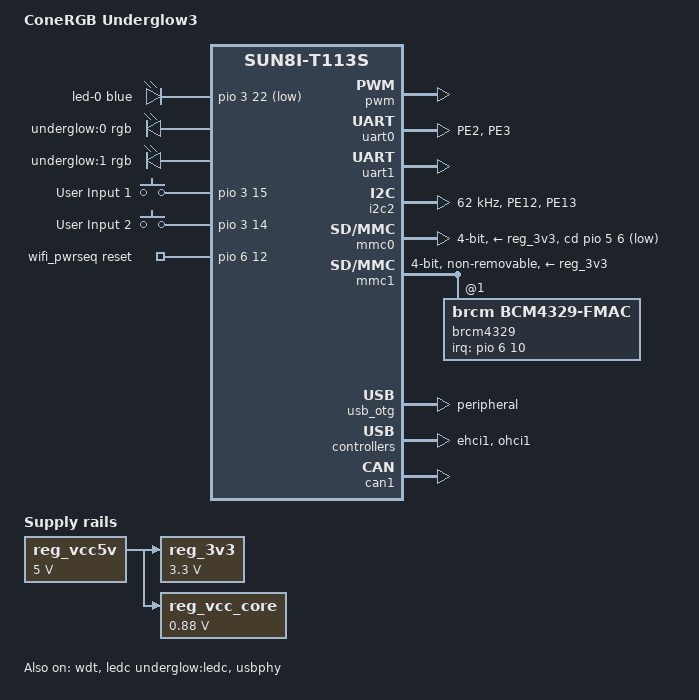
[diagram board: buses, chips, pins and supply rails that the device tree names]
// SPDX-License-Identifier: (GPL-2.0+ or MIT)
// Copyright (C) 2024 Connor Rigby <connorr@hey.com>

#include <dt-bindings/interrupt-controller/irq.h>

/dts-v1/;

#include <arm/allwinner/sun8i-t113s.dtsi>

#include <dt-bindings/gpio/gpio.h>
#include <dt-bindings/input/input.h>
#include <dt-bindings/leds/common.h>
#include <dt-bindings/pwm/pwm.h>

/ {
	model = "ConeRGB Underglow3";
	compatible = "allwinner,sun8i-t113s", "allwinner,sun8i";

	aliases {
		mmc0 = &mmc0;
		serial0 = &uart0;
		serial1 = &uart1;
	};

	chosen {
		stdout-path = "serial0:115200n8";
	};

	/* board wide 5V supply directly from the USB-C socket */
	reg_vcc5v: regulator-5v {
		compatible = "regulator-fixed";
		regulator-name = "vcc-5v";
		regulator-min-microvolt = <5000000>;
		regulator-max-microvolt = <5000000>;
		regulator-always-on;
	};

	/* SY8008 DC/DC regulator on the board */
	reg_3v3: regulator-3v3 {
		compatible = "regulator-fixed";
		regulator-name = "vcc-3v3";
		regulator-min-microvolt = <3300000>;
		regulator-max-microvolt = <3300000>;
		vin-supply = <&reg_vcc5v>;
	};

	/* SY8008 DC/DC regulator on the board, also supplying VDD-SYS */
	reg_vcc_core: regulator-core {
		compatible = "regulator-fixed";
		regulator-name = "vcc-core";
		regulator-min-microvolt = <880000>;
		regulator-max-microvolt = <880000>;
		vin-supply = <&reg_vcc5v>;
	};

	leds {
		compatible = "gpio-leds";

		led-0 {
			color = <LED_COLOR_ID_BLUE>;
			function = LED_FUNCTION_STATUS;
			gpios = <&pio 3 22 GPIO_ACTIVE_LOW>; /* PD22 */
		};
	};

    led-controller@0 {
        compatible = "pwm-leds-multicolor";
		pinctrl-0 = <&pwm1_pd17_pins>, <&pwm2_pd18_pins>, <&pwm3_pd19_pins>;
		pinctrl-names = "default";
		multi-led {
			color = <LED_COLOR_ID_RGB>;
            function = LED_FUNCTION_INDICATOR;
            max-brightness = <100000>;
			label = "underglow:0";
			led-red {
				color = <LED_COLOR_ID_RED>;
				pwms = <&pwm 1 100000 0>;
				max-brightness = <100000>;
			};
			led-green {
				color = <LED_COLOR_ID_GREEN>;
				pwms = <&pwm 2 100000 0>;
				max-brightness = <100000>;
			};
			led-glue {
				color = <LED_COLOR_ID_BLUE>;
				pwms = <&pwm 3 100000 0>;
				max-brightness = <100000>;
			};
		};
    };

    led-controller@1 {
        compatible = "pwm-leds-multicolor";
		pinctrl-0 = <&pwm4_pd20_pins>, <&pwm6_pd9_pins>, <&pwm0_pd16_pins>;
		pinctrl-names = "default";
		multi-led {
			color = <LED_COLOR_ID_RGB>;
            function = LED_FUNCTION_INDICATOR;
            max-brightness = <100000>;
			label = "underglow:1";
			led-red {
				color = <LED_COLOR_ID_RED>;
				pwms = <&pwm 4 100000 0>;
				max-brightness = <100000>;
			};
			led-green {
				color = <LED_COLOR_ID_GREEN>;
				pwms = <&pwm 6 100000 0>;
				max-brightness = <100000>;
			};
			led-glue {
				color = <LED_COLOR_ID_BLUE>;
				pwms = <&pwm 0 100000 0>;
				max-brightness = <100000>;
			};
		};
    };

	buttons {
		compatible = "gpio-keys";
		autorepeat;

		button@1 {
			label = "User Input 1";
			linux,code = <KEY_A>;
			gpios = <&pio 3 15 0>; /* PD15 */
		};

		button@2 {
			label = "User Input 2";
			linux,code = <KEY_B>;
			gpios = <&pio 3 14 0>; /* PD14 */
		};
	};

	wifi_pwrseq: wifi-pwrseq {
		compatible = "mmc-pwrseq-simple";
		reset-gpios = <&pio 6 12 GPIO_ACTIVE_HIGH>; /* PG12 */
		post-power-on-delay-ms = <200>;
	};
};

&dcxo {
	clock-frequency = <24000000>;
};

&cpu0 {
	cpu-supply = <&reg_vcc_core>;
	clock-frequency = <1200000000>;
};

&cpu1 {
	cpu-supply = <&reg_vcc_core>;
	clock-frequency = <1200000000>;
};

&wdt {
	status = "okay";
};

&pio {
	gpio-line-names = 
		"PB2",
		"PB3",
		"PB4",
		"PB5",
		"PB6",
		"PB7",
		"PC2",
		"PC3",
		"PC4",
		"PC5",
		"PC6",
		"PC7",
		"PD0",
		"PD1",
		"PD2",
		"PD3",
		"PD4",
		"PD5",
		"PD6",
		"PD7",
		"PD8",
		"PD9",
		"PD10",
		"PD11",
		"PD12",
		"PD13",
		"PD14",
		"PD15",
		"PWM0",
		"PWM1",
		"PWM2",
		"PWM3",
		"PWM4",
		"RELAY_SW",
		"PD22",
		"PE0",
		"PE1",
		"PE2",
		"PE3",
		"PE4",
		"LEDC",
		"PE6",
		"PE7",
		"PE8",
		"PE9",
		"PE10",
		"PE11",
		"PE12",
		"PE13",
		"PF0",
		"PF1",
		"PF2",
		"PF3",
		"PF4",
		"PF5",
		"PF6",
		"PG0",
		"PG1",
		"PG2",
		"PG3",
		"PG4",
		"PG5",
		"PG6",
		"PG7",
		"PG8",
		"PG9",
		"PG10",
		"PG11",
		"PG12",
		"PG13",
		"PG14",
		"PG15";

	vcc-pb-supply = <&reg_3v3>;
	vcc-pd-supply = <&reg_3v3>;
	vcc-pe-supply = <&reg_3v3>;
	vcc-pf-supply = <&reg_3v3>;
	vcc-pg-supply = <&reg_3v3>;

	uart0_pe2_pins: uart0-pe2-pins {
		pins = "PE2", "PE3";
		function = "uart0";
	};

	i2c2_pe12_pins: i2c2-pe12-pins {
		pins = "PE12", "PE13";
		function = "i2c2";
	};

	pwm0_pd16_pins: pwm0-pd16-pins {
		pins = "PD16";
		function = "pwm0";
	};

	pwm1_pd17_pins: pwm1-pd16-pins {
		pins = "PD17";
		function = "pwm1";
	};

	pwm2_pd18_pins: pwm2-pd18-pins {
		pins = "PD18";
		function = "pwm2";
	};

	pwm3_pd19_pins: pwm2-pd19-pins {
		pins = "PD19";
		function = "pwm3";
	};

	pwm4_pd20_pins: pwm4-pd20-pins {
		pins = "PD20";
		function = "pwm4";
	};

	/omit-if-no-ref/
	pwm5_pd21_pins: pwm5-pd21-pins {
		pins = "PD21";
		function = "pwm5";
	};

	pwm6_pd9_pins: pwm6-pd9-pins {
		pins = "PD9";
		function = "pwm6";
	};

	/omit-if-no-ref/
	pwm7_pd22_pins: pwm7-pd22-pins {
		pins = "PD22";
		function = "pwm7";
	};

	ledc_pe5_pin: ledc-pe5-pin {
		pins = "PE5";
		function = "ledc";
	};
};

&pwm {
	status = "okay";
};

&ledc {
	pinctrl-0 = <&ledc_pe5_pin>;
	pinctrl-names = "default";
	status = "okay";
	allwinner,pixel-format = "grb";
	allwinner,t0h-ns = "320";
	allwinner,t0l-ns = "800";
	allwinner,t1h-ns = "840";
	allwinner,t1l-ns = "400";
	allwinner,treset-ns = "300000";
	label = "underglow:ledc";
};

&uart0 {
	pinctrl-0 = <&uart0_pe2_pins>;
	pinctrl-names = "default";
	status = "okay";
};

&uart1 {
	uart-has-rtscts;
	pinctrl-0 = <&uart1_pg6_pins>, <&uart1_pg8_rts_cts_pins>;
	pinctrl-names = "default";
	status = "okay";
};

&i2c2 {
	pinctrl-0 = <&i2c2_pe12_pins>;
	pinctrl-names = "default";
	status = "okay";
	clock-frequency = <62000>;
};

&mmc0 {
	pinctrl-0 = <&mmc0_pins>;
	pinctrl-names = "default";
	vmmc-supply = <&reg_3v3>;
	cd-gpios = <&pio 5 6 GPIO_ACTIVE_LOW>;
	disable-wp;
	bus-width = <4>;
	status = "okay";
};

&mmc1 {
	pinctrl-0 = <&mmc1_pins>;
	pinctrl-names = "default";

	/* SDIO to WiFi module */
	vmmc-supply = <&reg_3v3>;
	mmc-pwrseq = <&wifi_pwrseq>;
	bus-width = <4>;
	non-removable;
	status = "okay";

	/*
	 * Explicitly define the sdio device, so that we can add an ethernet
	 * alias for it (which e.g. makes u-boot set a mac-address).
	 */
	brcm4329: sdio_wifi@1 {
		reg = <1>;
		compatible = "brcm,bcm4329-fmac";
		interrupt-parent = <&pio>;
		interrupts = <6 10 IRQ_TYPE_LEVEL_LOW>; /* PG10 = WL_WAKE_AP */
		interrupt-names = "host-wake";
	};

	//rtl8189ftv: wifi@1 {
	//	reg = <1>;
	//	interrupt-parent = <&pio>;
	//	interrupts = <6 10 IRQ_TYPE_LEVEL_LOW>; /* PG10 = WL_WAKE_AP */
	//	interrupt-names = "host-wake";
	//};
};

/* The USB-C socket has its CC pins pulled to GND, so is hardwired as a UFP. */
&usb_otg {
	dr_mode = "peripheral";
	status = "okay";
};

&usbphy {
	usb1_vbus-supply = <&reg_vcc5v>;
	status = "okay";
};

&ehci1 {
	status = "okay";
};

&ohci1 {
	status = "okay";
};

&can1 {
	pinctrl-names = "default";
	pinctrl-0 = <&can1_pins>;
	status = "okay";
};

// #include "sun8i-t113-ledc.dtsi"
